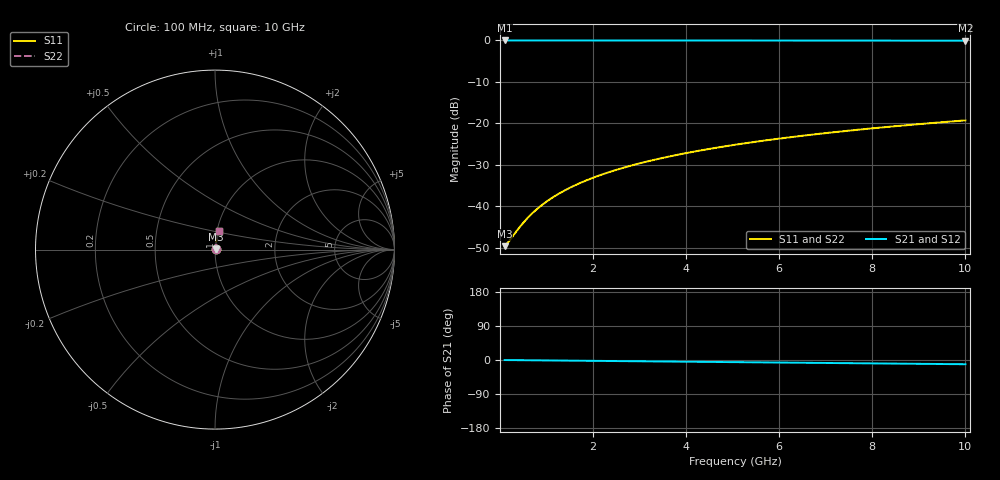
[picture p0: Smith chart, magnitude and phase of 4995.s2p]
# Hz S RI R 50.00
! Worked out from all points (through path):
!   100 points, 100 MHz to 10 GHz, reference 50 ohm
!   highest |S21| = -0.03 dB at 100 MHz (marker M1); lowest = -0.1 dB at 10 GHz (marker M2)
!   group delay of S21, straight-line fit = 3.1 ps
!   lowest |S11| = -49.6 dB at 100 MHz (marker M3), VSWR 1.01, Z = 50.3 + j0.109 ohm
!   |S11| at or under -10 dB: start of sweep to end of sweep
!   |S22| runs from -49.6 to -19.3 dB; largest |S21 - S12| = 1e-13
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1e8  0.00312 0.00109  0.9969 -0.00195  0.9969 -0.00195  0.00312 0.00109
2e8  0.00315 0.00217  0.9968 -0.00389  0.9968 -0.00389  0.00315 0.00217
4e8  0.0032 0.00434  0.9968 -0.00778  0.9968 -0.00778  0.0032 0.00434
5e8  0.00323 0.00542  0.9968 -0.00972  0.9968 -0.00972  0.00323 0.00542
6e8  0.00326 0.00651  0.9967 -0.0117  0.9967 -0.0117  0.00326 0.00651
7e8  0.0033 0.00759  0.9967 -0.0136  0.9967 -0.0136  0.0033 0.00759
8e8  0.00333 0.00868  0.9966 -0.0156  0.9966 -0.0156  0.00333 0.00868
1e9  0.00342 0.0108  0.9965 -0.0194  0.9965 -0.0194  0.00342 0.0108
1.2e9  0.00353 0.013  0.9964 -0.0233  0.9964 -0.0233  0.00353 0.013
1.5e9  0.00372 0.0163  0.9962 -0.0292  0.9962 -0.0292  0.00372 0.0163
1.8e9  0.00394 0.0195  0.9959 -0.035  0.9959 -0.035  0.00394 0.0195
2.1e9  0.0042 0.0228  0.9956 -0.0408  0.9956 -0.0408  0.0042 0.0228
2.5e9  0.0046 0.0271  0.9951 -0.0486  0.9951 -0.0486  0.0046 0.0271
2.9e9  0.00507 0.0314  0.9946 -0.0563  0.9946 -0.0563  0.00507 0.0314
3.4e9  0.00575 0.0368  0.9938 -0.066  0.9938 -0.066  0.00575 0.0368
4.2e9  0.00706 0.0453  0.9923 -0.0815  0.9923 -0.0815  0.00706 0.0453
5.1e9  0.00885 0.0549  0.9901 -0.0989  0.9901 -0.0989  0.00885 0.0549
5.9e9  0.0107 0.0634  0.9879 -0.1143  0.9879 -0.1143  0.0107 0.0634
6.7e9  0.0128 0.0718  0.9854 -0.1296  0.9854 -0.1296  0.0128 0.0718
7.5e9  0.0152 0.0801  0.9826 -0.1448  0.9826 -0.1448  0.0152 0.0801
8.4e9  0.0182 0.0894  0.9791 -0.1619  0.9791 -0.1619  0.0182 0.0894
1e10  0.0244 0.1056  0.9718 -0.192  0.9718 -0.192  0.0244 0.1056
